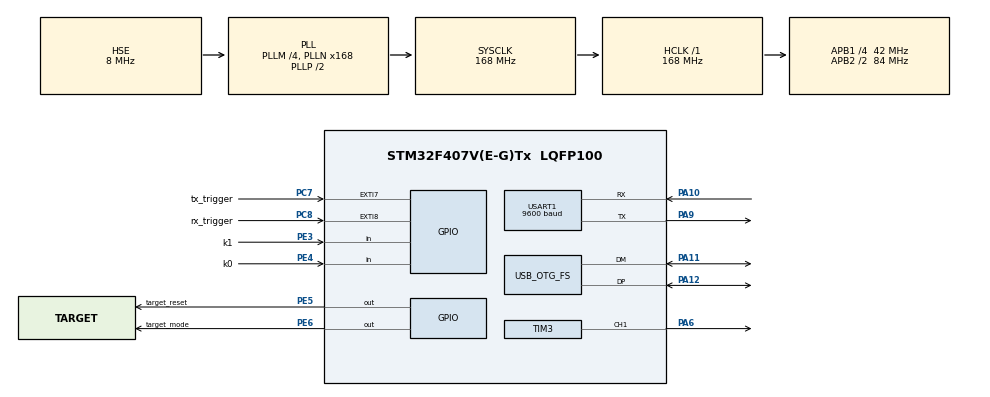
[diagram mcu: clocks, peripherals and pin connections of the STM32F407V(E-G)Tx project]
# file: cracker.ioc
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Mcu.Family=STM32F4
Mcu.Name=STM32F407V(E-G)Tx
Mcu.Package=LQFP100
NVIC.EXTI9_5_IRQn=true\:0\:0\:false\:false\:true\:true\:true
NVIC.OTG_FS_IRQn=true\:0\:0\:false\:false\:true\:false\:true
NVIC.PriorityGroup=NVIC_PRIORITYGROUP_4
PA10.GPIO_PuPd=GPIO_PULLUP
PA10.Mode=Asynchronous
PA10.Signal=USART1_RX
PA11.Mode=Device_Only
PA11.Signal=USB_OTG_FS_DM
PA12.Mode=Device_Only
PA12.Signal=USB_OTG_FS_DP
PA6.Signal=S_TIM3_CH1
PA9.GPIO_PuPd=GPIO_PULLUP
PA9.Mode=Asynchronous
PA9.Signal=USART1_TX
PC7.GPIO_Label=tx_trigger
PC7.GPIO_ModeDefaultEXTI=GPIO_MODE_IT_FALLING
PC7.Signal=GPXTI7
PC8.GPIO_Label=rx_trigger
PC8.GPIO_ModeDefaultEXTI=GPIO_MODE_IT_FALLING
PC8.Signal=GPXTI8
PE3.GPIO_Label=k1
PE3.GPIO_PuPd=GPIO_PULLUP
PE3.Signal=GPIO_Input
PE4.GPIO_Label=k0
PE4.GPIO_PuPd=GPIO_PULLUP
PE4.Signal=GPIO_Input
PE5.GPIO_Label=target_reset
PE5.GPIO_ModeDefaultOutputPP=GPIO_MODE_OUTPUT_OD
PE5.PinState=GPIO_PIN_SET
PE5.Signal=GPIO_Output
PE6.GPIO_Label=target_mode
PE6.Signal=GPIO_Output
PH0-OSC_IN.Mode=HSE-External-Oscillator
PH0-OSC_IN.Signal=RCC_OSC_IN
PH1-OSC_OUT.Mode=HSE-External-Oscillator
PH1-OSC_OUT.Signal=RCC_OSC_OUT
ProjectManager.HeapSize=0x1000
ProjectManager.StackSize=0x1000
ProjectManager.TargetToolchain=STM32CubeIDE
RCC.48MHZClocksFreq_Value=48000000
RCC.AHBFreq_Value=168000000
RCC.APB1CLKDivider=RCC_HCLK_DIV4
RCC.APB1Freq_Value=42000000
RCC.APB1TimFreq_Value=84000000
RCC.APB2CLKDivider=RCC_HCLK_DIV2
RCC.APB2Freq_Value=84000000
RCC.APB2TimFreq_Value=168000000
RCC.CortexFreq_Value=168000000
RCC.HCLKFreq_Value=168000000
RCC.HSE_VALUE=8000000
RCC.HSI_VALUE=16000000
RCC.LSE_VALUE=32768
RCC.PLLM=4
RCC.PLLN=168
RCC.PLLQ=7
RCC.SYSCLKFreq_VALUE=168000000
RCC.SYSCLKSource=RCC_SYSCLKSOURCE_PLLCLK
RCC.VCOOutputFreq_Value=336000000
SH.S_TIM3_CH1.0=TIM3_CH1,PWM Generation1 CH1
TIM3.Channel-PWM\ Generation1\ CH1=TIM_CHANNEL_1
TIM3.Prescaler=7
USART1.BaudRate=9600
USART1.VirtualMode=VM_ASYNC
USB_DEVICE.CLASS_NAME_FS=CDC
USB_DEVICE.VirtualMode-CDC_FS=Cdc
USB_DEVICE.VirtualModeFS=Cdc_FS
USB_OTG_FS.VirtualMode=Device_Only
VP_TIM2_VS_ClockSourceINT.Mode=Internal
VP_USB_DEVICE_VS_USB_DEVICE_CDC_FS.Mode=CDC_FS
board=custom

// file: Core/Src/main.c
/* USER CODE BEGIN Header */
/**
  ******************************************************************************
  * @file           : main.c
  * @brief          : Main program body
  ******************************************************************************
  * @attention
  *
  * <h2><center>&copy; Copyright (c) 2021 STMicroelectronics.
  * All rights reserved.</center></h2>
  *
  * This software component is licensed by ST under BSD 3-Clause license,
  * the "License"; You may not use this file except in compliance with the
  * License. You may obtain a copy of the License at:
  *                        opensource.org/licenses/BSD-3-Clause
  *
  ******************************************************************************
  */
/* USER CODE END Header */
#include "main.h"
#include "usb_device.h"

/* USER CODE BEGIN Includes */
#include "usbd_cdc_if.h"
#include "cracker.h"
#include <stdio.h>
#include <string.h>
#include <math.h>
#include <sys/stat.h>
/* USER CODE END Includes */

/* USER CODE BEGIN PD */
#define PUTCHAR_PROTOTYPE int __io_putchar(int ch)
/* USER CODE END PD */

TIM_HandleTypeDef htim2;
TIM_HandleTypeDef htim3;

UART_HandleTypeDef huart1;

/* USER CODE BEGIN PV */
uint8_t is_cdc_initialized = 0;
/* USER CODE END PV */

void SystemClock_Config(void);
static void MX_GPIO_Init(void);
static void MX_TIM2_Init(void);
static void MX_USART1_UART_Init(void);
static void MX_TIM3_Init(void);

/* USER CODE BEGIN 0 */

/*Please please please don't use print functions for debugging. Use print functions only for
 *status update, that will be used once the program will be in a state to run standalone.*/

/* Retarget printf*/
int _write(int fd, char * ptr, int len)
{
	if(is_cdc_initialized){

		int no_of_retries = 0;
		// I'm pretty sure that CDC_Transmit_FS() doesn't return USBD_OK, if no USB connection is established.
		// To make this work under debug and to prevent blocking code, printf gives up after 9000 tries.
		while(CDC_Transmit_FS((uint8_t *)ptr, len) != USBD_OK){
			no_of_retries++;
			if(no_of_retries > 9000){
				// It's over 9000!
				return 0;
			}
		}
		return (len);
	}
	else{
		return 0;
	}
}

uint32_t send_1byte(uint8_t byte, uint8_t byte_pos)
{

	uint32_t timer_ticks;
	uint32_t returncode;
	// Reset target first
	target_reset(GPIOE, target_reset_Pin, target_mode_Pin);

	// Initiate the target communication
	returncode = init_target_connection(&huart1);
	if(returncode != CON_INIT_OK)
	{
		printf("Initiating target communication failed with error: %lu \n", returncode);
		return 0;
	}

	returncode = set_baudrate(&huart1, TEST_TARGET_SPEED);
	if(returncode != BAUDRATE_CHANGE_OK)
	{
		printf("Setting the baud rate failed with error: %lu \n", returncode);
		return 0;
	}

	send_one_key_byte(byte, byte_pos, &huart1, &htim2);
	timer_ticks = read_and_reset_timer(&htim2);
	return timer_ticks;
}

void set_min_clock()
{
	printf("Finding minimal clock speed");
	uint32_t clock_speed_khz;
	for(clock_speed_khz = 100; clock_speed_khz <= MAX_TARGET_CLKSPEED_KHZ; clock_speed_khz += 100){
		uint32_t init_returncode;
		uint32_t baudrate_returncode;
		printf("Testing clock of: %lu KHz\n", clock_speed_khz);
		set_target_clock_generator(&htim3, clock_speed_khz);
		// Reset target first
		target_reset(GPIOE, target_reset_Pin, target_mode_Pin);

		// Initiate the target communication
		init_returncode = init_target_connection(&huart1);
		// Test baud rate switch.
		baudrate_returncode = set_baudrate(&huart1, TEST_TARGET_SPEED);

		if((init_returncode == CON_INIT_OK) && (baudrate_returncode == BAUDRATE_CHANGE_OK)){
			printf("Clock speed %lu KHz seems fine. Testing clock stability.\n", clock_speed_khz);
			//Test communication a few more times to make sure it runs reliably. This is to avoid any instabilities during testing.
			int i;
			uint8_t no_of_fails = 0;
			for(i = 0; i < 10; i++)
			{
				target_reset(GPIOE, target_reset_Pin, target_mode_Pin);
				// Initiate the target communication
				init_returncode = init_target_connection(&huart1);
				// Test baud rate switch.
				baudrate_returncode = set_baudrate(&huart1, TEST_TARGET_SPEED);
				if((init_returncode != CON_INIT_OK) && (baudrate_returncode != BAUDRATE_CHANGE_OK)){
					no_of_fails++;
					break;
				}
			}
			if(no_of_fails == 0){
				printf("Clock speed %lu KHz is the lowest detected speed.\n", clock_speed_khz);
				return;
			}
			else{
				printf("Clock speed %lu KHz was unstable.\n", clock_speed_khz);
			}
		}
		else
		{
			printf("Clock speed to low.\n");
		}
	}
	printf("Target didn't respond at any of the selected speeds. Defaulting to %u KHz. Please check the connection.\n", TARGET_CLOCK_KHZ);
	set_target_clock_generator(&htim3, TARGET_CLOCK_KHZ);
}

/* USER CODE END 0 */

int main(void)
{
  /* USER CODE BEGIN 1 */
  /*This is so that we don't need new line for every printf.*/
  setvbuf(stdout, NULL, _IONBF, 0);
  /* USER CODE END 1 */

  /* MCU Configuration--------------------------------------------------------*/

  /* Reset of all peripherals, Initializes the Flash interface and the Systick. */
  HAL_Init();

  /* Configure the system clock */
  SystemClock_Config();

  /* Initialize all configured peripherals */
  MX_GPIO_Init();
  MX_TIM2_Init();
  MX_USART1_UART_Init();
  MX_USB_DEVICE_Init();
  MX_TIM3_Init();
  /* USER CODE BEGIN 2 */
  is_cdc_initialized = 1;
  #ifdef GET_MIN_CLK_SPEED
  set_min_clock();
  #else
  set_target_clock_generator(&htim3, TARGET_CLOCK_KHZ);
  #endif

  /* USER CODE END 2 */

  /* Infinite loop */
  /* USER CODE BEGIN WHILE */
  while (1)
  {
	HAL_Delay(1000);

	printf("Press key0 to start cracker.\n");
	//Wait for start button press (key0 on board).
	while(HAL_GPIO_ReadPin(GPIOE, k0_Pin));

	printf("Cracker started.\n");
	HAL_Delay(500);

	uint8_t byte_no = 0;

	uint8_t detected_key[7];

	int i;
	for(byte_no = 0; byte_no < 7; byte_no++){
		uint32_t longest_tick = 0;
		uint32_t longest_tick_byte = 0;

		for(i = 0; i < 256; i++){
			uint32_t timer_ticks;
			timer_ticks = send_1byte(i, 0);

			if(!timer_ticks)
			{
				// No ticks detected handler
				printf("Timer ticks were 0 which indicates an error. Press key0 to continue or key1 to cancel this run.\n");
				while(HAL_GPIO_ReadPin(GPIOE, k0_Pin) == GPIO_PIN_SET)
				{
					if(HAL_GPIO_ReadPin(GPIOE, k1_Pin) == GPIO_PIN_RESET)
					{
						byte_no = 7;
						i = 256;
						break;
					}
				}
			}

			if(timer_ticks > longest_tick)
			{
				longest_tick = timer_ticks;
				longest_tick_byte = i;
			}

			printf("Number of ticks for Byte %d at Key Byte %d was : %lu \n", i, byte_no + 1, timer_ticks);
		}
		detected_key[byte_no] = longest_tick_byte;
	}

	printf("\nDetected key was:");
	for(i = 0; i < 7; i++)
	{
		printf(" 0x%x", detected_key[i]);
	}
	printf("\n\n");

    /* USER CODE END WHILE */

  }
}

void SystemClock_Config(void)
{
  RCC_OscInitTypeDef RCC_OscInitStruct = {0};
  RCC_ClkInitTypeDef RCC_ClkInitStruct = {0};

  /** Configure the main internal regulator output voltage
  */
  __HAL_RCC_PWR_CLK_ENABLE();
  __HAL_PWR_VOLTAGESCALING_CONFIG(PWR_REGULATOR_VOLTAGE_SCALE1);
  /** Initializes the RCC Oscillators according to the specified parameters
  * in the RCC_OscInitTypeDef structure.
  */
  RCC_OscInitStruct.OscillatorType = RCC_OSCILLATORTYPE_HSE;
  RCC_OscInitStruct.HSEState = RCC_HSE_ON;
  RCC_OscInitStruct.PLL.PLLState = RCC_PLL_ON;
  RCC_OscInitStruct.PLL.PLLSource = RCC_PLLSOURCE_HSE;
  RCC_OscInitStruct.PLL.PLLM = 4;
  RCC_OscInitStruct.PLL.PLLN = 168;
  RCC_OscInitStruct.PLL.PLLP = RCC_PLLP_DIV2;
  RCC_OscInitStruct.PLL.PLLQ = 7;
  if (HAL_RCC_OscConfig(&RCC_OscInitStruct) != HAL_OK)
  {
    Error_Handler();
  }
  /** Initializes the CPU, AHB and APB buses clocks
  */
  RCC_ClkInitStruct.ClockType = RCC_CLOCKTYPE_HCLK|RCC_CLOCKTYPE_SYSCLK
                              |RCC_CLOCKTYPE_PCLK1|RCC_CLOCKTYPE_PCLK2;
  RCC_ClkInitStruct.SYSCLKSource = RCC_SYSCLKSOURCE_PLLCLK;
  RCC_ClkInitStruct.AHBCLKDivider = RCC_SYSCLK_DIV1;
  RCC_ClkInitStruct.APB1CLKDivider = RCC_HCLK_DIV4;
  RCC_ClkInitStruct.APB2CLKDivider = RCC_HCLK_DIV2;

  if (HAL_RCC_ClockConfig(&RCC_ClkInitStruct, FLASH_LATENCY_5) != HAL_OK)
  {
    Error_Handler();
  }
}

static void MX_TIM2_Init(void)
{

  TIM_ClockConfigTypeDef sClockSourceConfig = {0};
  TIM_MasterConfigTypeDef sMasterConfig = {0};

  htim2.Instance = TIM2;
  htim2.Init.Prescaler = 0;
  htim2.Init.CounterMode = TIM_COUNTERMODE_UP;
  htim2.Init.Period = 4294967295;
  htim2.Init.ClockDivision = TIM_CLOCKDIVISION_DIV1;
  htim2.Init.AutoReloadPreload = TIM_AUTORELOAD_PRELOAD_DISABLE;
  if (HAL_TIM_Base_Init(&htim2) != HAL_OK)
  {
    Error_Handler();
  }
  sClockSourceConfig.ClockSource = TIM_CLOCKSOURCE_INTERNAL;
  if (HAL_TIM_ConfigClockSource(&htim2, &sClockSourceConfig) != HAL_OK)
  {
    Error_Handler();
  }
  sMasterConfig.MasterOutputTrigger = TIM_TRGO_RESET;
  sMasterConfig.MasterSlaveMode = TIM_MASTERSLAVEMODE_DISABLE;
  if (HAL_TIMEx_MasterConfigSynchronization(&htim2, &sMasterConfig) != HAL_OK)
  {
    Error_Handler();
  }

}

static void MX_TIM3_Init(void)
{

  TIM_MasterConfigTypeDef sMasterConfig = {0};
  TIM_OC_InitTypeDef sConfigOC = {0};

  htim3.Instance = TIM3;
  htim3.Init.Prescaler = 7;
  htim3.Init.CounterMode = TIM_COUNTERMODE_UP;
  htim3.Init.Period = 65535;
  htim3.Init.ClockDivision = TIM_CLOCKDIVISION_DIV1;
  htim3.Init.AutoReloadPreload = TIM_AUTORELOAD_PRELOAD_DISABLE;
  if (HAL_TIM_PWM_Init(&htim3) != HAL_OK)
  {
    Error_Handler();
  }
  sMasterConfig.MasterOutputTrigger = TIM_TRGO_RESET;
  sMasterConfig.MasterSlaveMode = TIM_MASTERSLAVEMODE_DISABLE;
  if (HAL_TIMEx_MasterConfigSynchronization(&htim3, &sMasterConfig) != HAL_OK)
  {
    Error_Handler();
  }
  sConfigOC.OCMode = TIM_OCMODE_PWM1;
  sConfigOC.Pulse = 0;
  sConfigOC.OCPolarity = TIM_OCPOLARITY_HIGH;
  sConfigOC.OCFastMode = TIM_OCFAST_DISABLE;
  if (HAL_TIM_PWM_ConfigChannel(&htim3, &sConfigOC, TIM_CHANNEL_1) != HAL_OK)
  {
    Error_Handler();
  }
  HAL_TIM_MspPostInit(&htim3);

}

static void MX_USART1_UART_Init(void)
{

  huart1.Instance = USART1;
  huart1.Init.BaudRate = 9600;
  huart1.Init.WordLength = UART_WORDLENGTH_8B;
  huart1.Init.StopBits = UART_STOPBITS_1;
  huart1.Init.Parity = UART_PARITY_NONE;
  huart1.Init.Mode = UART_MODE_TX_RX;
  huart1.Init.HwFlowCtl = UART_HWCONTROL_NONE;
  huart1.Init.OverSampling = UART_OVERSAMPLING_16;
  if (HAL_UART_Init(&huart1) != HAL_OK)
  {
    Error_Handler();
  }

}

static void MX_GPIO_Init(void)
{
  GPIO_InitTypeDef GPIO_InitStruct = {0};

  /* GPIO Ports Clock Enable */
  __HAL_RCC_GPIOE_CLK_ENABLE();
  __HAL_RCC_GPIOH_CLK_ENABLE();
  __HAL_RCC_GPIOA_CLK_ENABLE();
  __HAL_RCC_GPIOC_CLK_ENABLE();

  /*Configure GPIO pin Output Level */
  HAL_GPIO_WritePin(target_reset_GPIO_Port, target_reset_Pin, GPIO_PIN_SET);

  /*Configure GPIO pin Output Level */
  HAL_GPIO_WritePin(target_mode_GPIO_Port, target_mode_Pin, GPIO_PIN_RESET);

  /*Configure GPIO pins : k1_Pin k0_Pin */
  GPIO_InitStruct.Pin = k1_Pin|k0_Pin;
  GPIO_InitStruct.Mode = GPIO_MODE_INPUT;
  GPIO_InitStruct.Pull = GPIO_PULLUP;
  HAL_GPIO_Init(GPIOE, &GPIO_InitStruct);

  /*Configure GPIO pin : target_reset_Pin */
  GPIO_InitStruct.Pin = target_reset_Pin;
  GPIO_InitStruct.Mode = GPIO_MODE_OUTPUT_OD;
  GPIO_InitStruct.Pull = GPIO_NOPULL;
  GPIO_InitStruct.Speed = GPIO_SPEED_FREQ_LOW;
  HAL_GPIO_Init(target_reset_GPIO_Port, &GPIO_InitStruct);

  /*Configure GPIO pin : target_mode_Pin */
  GPIO_InitStruct.Pin = target_mode_Pin;
  GPIO_InitStruct.Mode = GPIO_MODE_OUTPUT_PP;
  GPIO_InitStruct.Pull = GPIO_NOPULL;
  GPIO_InitStruct.Speed = GPIO_SPEED_FREQ_LOW;
  HAL_GPIO_Init(target_mode_GPIO_Port, &GPIO_InitStruct);

  /*Configure GPIO pins : tx_trigger_Pin rx_trigger_Pin */
  GPIO_InitStruct.Pin = tx_trigger_Pin|rx_trigger_Pin;
  GPIO_InitStruct.Mode = GPIO_MODE_IT_FALLING;
  GPIO_InitStruct.Pull = GPIO_NOPULL;
  HAL_GPIO_Init(GPIOC, &GPIO_InitStruct);

  /* EXTI interrupt init*/
  HAL_NVIC_SetPriority(EXTI9_5_IRQn, 0, 0);
  HAL_NVIC_EnableIRQ(EXTI9_5_IRQn);

}

void Error_Handler(void)
{
  __disable_irq();
  while (1)
  {
  }
}

/************************ (C) COPYRIGHT STMicroelectronics *****END OF FILE****/
